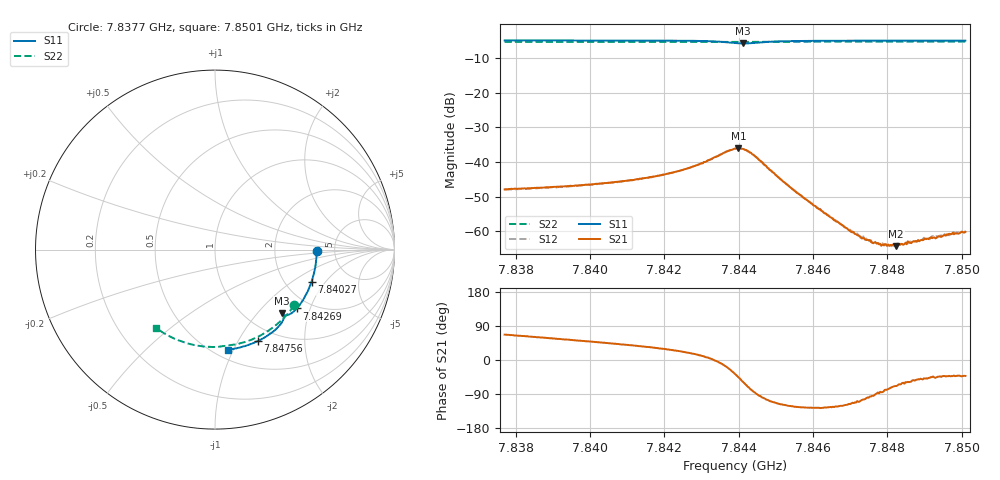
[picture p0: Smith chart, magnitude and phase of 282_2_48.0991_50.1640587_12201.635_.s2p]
#  HZ  S  RI  R  50.00
! Rohde & Schwarz Vector Network Analyzer
! Rohde-Schwarz,ZNB20-2Port,1311601062101988,3.16
! Created: UTC 12/23/2023, 4:02:51 AM
! freq[Hz]  re:S11  im:S11  re:S21  im:S21  re:S12  im:S12  re:S22  im:S22
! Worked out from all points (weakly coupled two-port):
!   401 points, 7.8377 GHz to 7.8501 GHz, reference 50 ohm
!   highest |S21| = -36.05 dB at 7.84399 GHz (marker M1); lowest = -64.3 dB at 7.84824 GHz (marker M2)
!   lowest |S11| = -5.8 dB at 7.84412 GHz (marker M3), VSWR 3.10, Z = 71.1 - j68 ohm
!   |S11| at or under -10 dB: nowhere
!   |S22| runs from -5.4 to -5.3 dB; largest |S21 - S12| = 0.0003
!   S11 on the Smith chart (normalised r, x): 7.8377 GHz: 3.61, -0.11; 7.84027 GHz: 2.76, -1.46; 7.84269 GHz: 1.70, -1.62; 7.84756 GHz: 0.81, -1.21; 7.8501 GHz: 0.59, -0.96
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7.837697e9  0.5665 -0.0105  0.00156 0.00369  0.00159 0.00367  0.4411 -0.311
7.839775e9  0.5475 -0.1474  0.00295 0.00357  0.00287 0.00357  0.3429 -0.418
7.840271e9  0.5377 -0.1795  0.00335 0.00354  0.00333 0.00351  0.3154 -0.4392
7.84117e9  0.5149 -0.2362  0.00432 0.00338  0.00428 0.0034  0.2624 -0.4733
7.841852e9  0.4923 -0.2783  0.00545 0.00323  0.0054 0.00326  0.2195 -0.4947
7.842689e9  0.456 -0.3277  0.00789 0.00259  0.00785 0.00264  0.1645 -0.5158
7.843433e9  0.4081 -0.3634  0.0121 -0.000913  0.0121 -0.000927  0.1138 -0.5286
7.843898e9  0.3741 -0.3609  0.0125 -0.00929  0.0124 -0.00944  0.0824 -0.5326
7.843991e9  0.3714 -0.3572  0.011 -0.0113  0.011 -0.0112  0.0766 -0.5333
7.844115e9  0.3722 -0.3525  0.0082 -0.0131  0.00828 -0.0129  0.0688 -0.5344
7.84427e9  0.377 -0.352  0.00425 -0.0134  0.00437 -0.0133  0.0592 -0.5361
7.844456e9  0.3834 -0.3595  0.00044 -0.0119  0.000437 -0.0118  0.0471 -0.5382
7.845231e9  0.3674 -0.4127  -0.00242 -0.00445  -0.00243 -0.0044  -0.00743 -0.5428
7.845975e9  0.3298 -0.4518  -0.00146 -0.002  -0.00144 -0.00205  -0.0601 -0.5403
7.846998e9  0.2713 -0.4924  -0.000446 -0.000902  -0.000449 -0.000948  -0.1308 -0.5284
7.847432e9  0.2453 -0.5064  -0.000137 -0.000732  -0.000122 -0.000772  -0.1603 -0.5205
7.847556e9  0.2379 -0.5101  -7.76e-05 -0.000696  -9.61e-05 -0.000737  -0.1687 -0.5181
7.847835e9  0.2206 -0.5178  5.22e-05 -0.000612  7.28e-05 -0.000623  -0.1872 -0.5116
7.848052e9  0.2071 -0.5236  0.000154 -0.000594  0.000141 -0.0006  -0.2015 -0.5064
7.848238e9  0.1955 -0.5279  0.000221 -0.000567  0.000251 -0.00061  -0.2137 -0.5015
7.849696e9  0.1016 -0.5533  0.000666 -0.000619  0.000672 -0.000599  -0.3037 -0.4535
7.850099e9  0.0751 -0.5575  0.000728 -0.000656  0.000768 -0.000644  -0.3269 -0.4374
